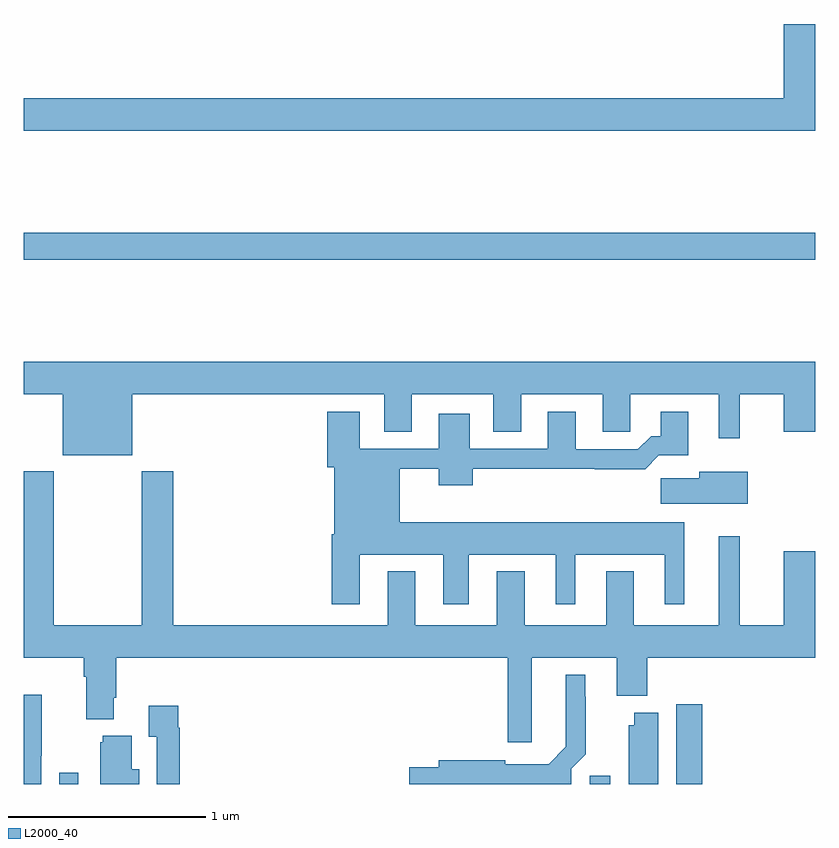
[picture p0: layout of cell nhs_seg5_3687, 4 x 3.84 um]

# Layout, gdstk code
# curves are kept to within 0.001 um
import gdstk
lib = gdstk.Library(unit=1e-6, precision=1e-09)
def R(c, l, rs):  # rectangles x0, y0, x1, y1
    for r in rs: c.add(gdstk.rectangle(r[:2], r[2:], *l))
def P(c, l, *ps):  # polygons
    for p in ps: c.add(gdstk.Polygon(p, *l))
L2000_40 = (2000, 40)

nhs_seg5_3687 = lib.new_cell('nhs_seg5_3687')
R(nhs_seg5_3687, L2000_40, [(329.181,846.799,329.277,846.856), (331.859,846.799,331.963,846.841), (332.297,846.799,332.429,847.201), (329,849.448,333,849.584)])
P(nhs_seg5_3687, L2000_40, [(333,850.639),(332.84,850.639),(332.84,850.264),(329,850.264),(329,850.1),(333,850.1)],
  [(329.548,848.768),(330.821,848.768),(330.821,848.578),(330.961,848.578),(330.961,848.768),(331.373,848.768),(331.373,848.578),(331.513,848.578),(331.513,848.768),(331.925,848.768),(331.925,848.578),(332.064,848.578),(332.064,848.768),(332.513,848.768),(332.513,848.547),(332.617,848.547),(332.617,848.768),(332.84,848.768),(332.84,848.58),(333,848.58),(333,848.932),(329,848.932),(329,848.768),(329.198,848.768),(329.198,848.459),(329.548,848.459)],
  [(330.697,847.958),(331.121,847.958),(331.121,847.707),(331.249,847.707),(331.249,847.958),(331.688,847.958),(331.688,847.707),(331.786,847.707),(331.786,847.958),(332.24,847.958),(332.24,847.707),(332.338,847.707),(332.338,848.122),(330.901,848.122),(330.901,848.392),(331.097,848.392),(331.097,848.309),(331.268,848.309),(331.268,848.392),(331.885,848.392),(331.885,848.39),(332.141,848.39),(332.21,848.459),(332.359,848.459),(332.359,848.68),(332.219,848.68),(332.219,848.557),(332.17,848.557),(332.103,848.49),(331.789,848.49),(331.789,848.68),(331.649,848.68),(331.649,848.493),(331.255,848.493),(331.255,848.671),(331.097,848.671),(331.097,848.493),(330.697,848.493),(330.697,848.68),(330.533,848.68),(330.533,848.4),(330.569,848.4),(330.569,848.062),(330.557,848.062),(330.557,847.707),(330.697,847.707)],
  [(331.567,847.436),(331.997,847.436),(331.997,847.244),(332.15,847.244),(332.15,847.436),(333,847.436),(333,847.975),(332.84,847.975),(332.84,847.6),(332.617,847.6),(332.617,848.05),(332.513,848.05),(332.513,847.6),(332.083,847.6),(332.083,847.873),(331.943,847.873),(331.943,847.6),(331.531,847.6),(331.531,847.873),(331.391,847.873),(331.391,847.6),(330.979,847.6),(330.979,847.873),(330.839,847.873),(330.839,847.6),(329.756,847.6),(329.756,848.38),(329.596,848.38),(329.596,847.6),(329.151,847.6),(329.151,848.38),(329,848.38),(329,847.436),(329.303,847.436),(329.303,847.34),(329.315,847.34),(329.315,847.127),(329.455,847.127),(329.455,847.234),(329.468,847.234),(329.468,847.436),(331.445,847.436),(331.445,847.011),(331.567,847.011)],
  [(332.659,848.377),(332.414,848.377),(332.414,848.345),(332.22,848.345),(332.22,848.216),(332.659,848.216)],
  [(331.767,846.876),(331.841,846.95),(331.841,847.241),(331.837,847.241),(331.837,847.351),(331.739,847.351),(331.74,846.988),(331.652,846.9),(331.432,846.9),(331.432,846.92),(331.097,846.92),(331.097,846.884),(330.948,846.884),(330.948,846.799),(331.767,846.799)],
  [(329.088,846.943),(329.091,846.943),(329.091,847.25),(329,847.25),(329,846.799),(329.088,846.799)],
  [(329.789,847.082),(329.782,847.082),(329.782,847.195),(329.633,847.195),(329.633,847.039),(329.673,847.039),(329.673,846.799),(329.789,846.799)],
  [(332.206,847.159),(332.084,847.159),(332.084,847.095),(332.057,847.095),(332.057,846.799),(332.206,846.799)],
  [(329.584,846.874),(329.545,846.874),(329.545,847.042),(329.399,847.042),(329.399,847.011),(329.387,847.011),(329.387,846.799),(329.584,846.799)])

lib.write_gds('nhs_seg5_3687.gds')
